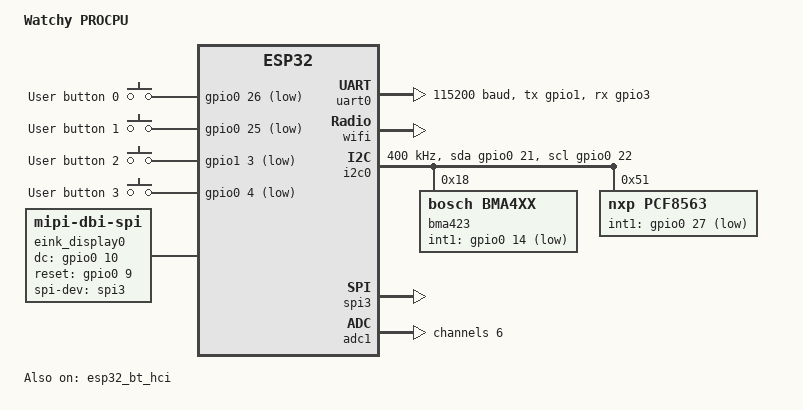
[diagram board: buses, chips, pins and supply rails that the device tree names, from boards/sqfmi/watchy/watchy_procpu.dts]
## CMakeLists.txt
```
# SPDX-License-Identifier: Apache-2.0

cmake_minimum_required(VERSION 3.20.0)

find_package(Zephyr REQUIRED HINTS $ENV{ZEPHYR_BASE})
project(hello_world)

# Include LVGL image conversion function
include(cmake/lvgl_image.cmake)

# Include LVGL font conversion function
include(cmake/lvgl_font.cmake)

include_directories(src/EPD_W21/)
include_directories(src/)

# Convert all images in src/app/images/res
file(GLOB IMAGE_FILES "src/app/images/res/*.png")
if(IMAGE_FILES)
    lvgl_add_images(
        IMAGES ${IMAGE_FILES}
        COLOR_FORMAT RGB565
        RGB565_DITHER
    )
endif()

# Convert seven segments font with number characters and colon
lvgl_add_font(
    FONT_FILE fonts/seven_segments.ttf
    SIZE 64
    BPP 1
    RANGE "0x30-0x3A"
)

# Convert Vietnamese font for notifications if the source is available
set(VIETNAMESE_FONT_FILE "${CMAKE_CURRENT_SOURCE_DIR}/fonts/NotoSans_Condensed-Medium.ttf")
if(EXISTS "${VIETNAMESE_FONT_FILE}")
    lvgl_add_font(
        FONT_FILE ${VIETNAMESE_FONT_FILE}
        SIZE 20
        BPP 4
        FORMAT lvgl
        RANGE "0x0020-0x007F,0x00A0-0x00FF,0x0102,0x0103,0x0110,0x0111,0x0128,0x0129,0x0168,0x0169,0x01A0,0x01A1,0x01AF,0x01B0,0x1EA0-0x1EF9"
        OUTPUT_NAME font_vi_20
        NO_COMPRESS
        NO_PREFILTER
    )
    target_compile_definitions(app PRIVATE HAS_FONT_VI_20)
else()
    message(WARNING "NotoSans_Condensed-Medium.ttf not found; skipping Vietnamese font generation")
endif()

add_compile_definitions(LV_LVGL_H_INCLUDE_SIMPLE)

target_sources(app PRIVATE 
    src/main.c 
    src/network.c 
    src/buttons.c 
    src/battery.c 
    src/sensors.c
    ${LVGL_FONT_SOURCES}
    src/lib/rtc.c
    src/lib/ancs.c
    src/app/app_manager.c
    src/app/watchface/watchface_app.c
    src/app/watchface/segments_wf_app.c
    src/app/counter/counter_app.c
    src/app/notification/notification_app.c
    src/app/images/images_app.c
    src/app/gpio_event.c
    ${LVGL_IMAGE_SOURCES}
)
```

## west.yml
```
manifest:
  remotes:
    - name: zephyrproject-rtos
      url-base: https://github.com/zephyrproject-rtos

  projects:
    - name: zephyr
      remote: zephyrproject-rtos
      revision: main
      import:
        name-allowlist:
          - hal_espressif
          - mbedtls
          - lvgl
  self:
    path: app
```

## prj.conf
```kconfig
CONFIG_ESP32_USE_UNSUPPORTED_REVISION=y
CONFIG_LOG=y
CONFIG_LOG_BACKEND_UART=y
CONFIG_GPIO=y


CONFIG_EARLY_CONSOLE=y

CONFIG_NETWORKING=y
CONFIG_TEST_RANDOM_GENERATOR=y
CONFIG_NET_IPV6=n
CONFIG_NET_IPV4=y
CONFIG_NET_ARP=y
CONFIG_NET_UDP=y
CONFIG_NET_DHCPV4=y
CONFIG_DNS_RESOLVER=y


CONFIG_MAIN_STACK_SIZE=16384
CONFIG_SHELL_STACK_SIZE=8192
CONFIG_NET_TX_STACK_SIZE=2048
CONFIG_NET_RX_STACK_SIZE=2048

CONFIG_NET_PKT_RX_COUNT=10
CONFIG_NET_PKT_TX_COUNT=10
CONFIG_NET_BUF_RX_COUNT=20
CONFIG_NET_BUF_TX_COUNT=20
CONFIG_NET_MAX_CONTEXTS=10

CONFIG_NET_IPV4=y
CONFIG_NET_IPV6=n

CONFIG_NET_TCP=y

CONFIG_NET_LOG=y
CONFIG_INIT_STACKS=y

CONFIG_NET_SHELL=y

CONFIG_NET_STATISTICS=y
CONFIG_NET_STATISTICS_PERIODIC_OUTPUT=n

CONFIG_WIFI=y
CONFIG_WIFI_LOG_LEVEL_ERR=y
CONFIG_NET_L2_WIFI_SHELL=y
CONFIG_NET_MGMT_EVENT_QUEUE_TIMEOUT=50
CONFIG_NET_MGMT_EVENT_QUEUE_SIZE=8
CONFIG_DNS_RESOLVER=y

CONFIG_WIFI_CREDENTIALS=y
CONFIG_FLASH=y
CONFIG_FLASH_PAGE_LAYOUT=y
CONFIG_FLASH_MAP=y
CONFIG_NVS=y
CONFIG_SETTINGS=y
CONFIG_SETTINGS_NVS=y


CONFIG_SENSOR=y
# CONFIG_SENSOR_ASYNC_API=y
CONFIG_BMA4XX=y
CONFIG_SENSOR_LOG_LEVEL_INF=y
CONFIG_SHELL=y
CONFIG_BOOT_BANNER=n
CONFIG_SENSOR_SHELL=y
CONFIG_SENSOR_INFO=y


#CONFIG_CPLUSPLUS=y
CONFIG_GPIO=y
CONFIG_I2C=y
CONFIG_SPI=y


CONFIG_LV_Z_MEM_POOL_SIZE=16384
CONFIG_LV_Z_SHELL=y

CONFIG_DISPLAY=y
CONFIG_DISPLAY_LOG_LEVEL_ERR=y

CONFIG_LOG=y
CONFIG_SHELL=y

CONFIG_LVGL=y
CONFIG_LV_USE_LOG=y
CONFIG_LV_USE_LABEL=y
CONFIG_LV_USE_ARC=y
CONFIG_LV_USE_MONKEY=y
CONFIG_LV_FONT_MONTSERRAT_16=y
CONFIG_LV_FONT_MONTSERRAT_24=y
CONFIG_LV_FONT_MONTSERRAT_48=y
CONFIG_LV_LOG_LEVEL_WARN=y
CONFIG_LV_COLOR_DEPTH_1=y
CONFIG_INPUT=y
CONFIG_LV_Z_BUTTON_INPUT=y



# Wi-Fi Configuration
CONFIG_WIFI=n

# Network Configuration
CONFIG_NET_CONFIG_AUTO_INIT=n
CONFIG_NET_CONNECTION_MANAGER=y
CONFIG_NET_DHCPV4=y
CONFIG_NET_DHCPV4_SERVER=y
CONFIG_NET_IF_MAX_IPV4_COUNT=2
CONFIG_NET_IF_MAX_IPV6_COUNT=2
CONFIG_NET_IPV4=y
CONFIG_NET_L2_ETHERNET=y
CONFIG_NET_L2_WIFI_MGMT=y
CONFIG_NET_MGMT=y
CONFIG_NET_MGMT_EVENT=y
CONFIG_NET_MGMT_EVENT_INFO=y
CONFIG_NET_MGMT_EVENT_QUEUE_SIZE=10
CONFIG_NET_MGMT_EVENT_STACK_SIZE=2048
CONFIG_NET_PKT_RX_COUNT=16
CONFIG_NET_PKT_TX_COUNT=16
CONFIG_NET_SOCKETS_SERVICE_STACK_SIZE=2048
CONFIG_NET_TCP=y
CONFIG_NET_UDP=y
CONFIG_NETWORKING=y

# LOG Configuration
CONFIG_NET_LOG=y

CONFIG_TEST_RANDOM_GENERATOR=y
CONFIG_ESP32_USE_UNSUPPORTED_REVISION=y


CONFIG_RTC=y
CONFIG_RTC_SHELL=y

CONFIG_ADC=y
CONFIG_ADC_ESP32=y



CONFIG_BT=y
CONFIG_BT_PERIPHERAL=y
CONFIG_BT_SMP=y
CONFIG_BT_GATT_CLIENT=y
CONFIG_BT_DEVICE_NAME="Zephyr GATT Write 3"

CONFIG_BT_BUF_ACL_RX_SIZE=255
CONFIG_BT_BUF_ACL_TX_SIZE=251
CONFIG_BT_BUF_CMD_TX_SIZE=255
CONFIG_BT_BUF_EVT_DISCARDABLE_SIZE=255

CONFIG_BT_L2CAP_TX_MTU=247

CONFIG_LOG=y
CONFIG_ESP32_USE_UNSUPPORTED_REVISION=y

CONFIG_BT_GATT_AUTO_DISCOVER_CCC=y

CONFIG_HEAP_MEM_POOL_SIZE=32768
```

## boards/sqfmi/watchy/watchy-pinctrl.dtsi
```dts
/*
 * Copyright (c) 2022 AVSystem Sławomir Wolf Sp.j. (AVSystem)
 *
 * SPDX-License-Identifier: Apache-2.0
 */

#include <zephyr/dt-bindings/pinctrl/esp-pinctrl-common.h>
#include <dt-bindings/pinctrl/esp32-pinctrl.h>
#include <zephyr/dt-bindings/pinctrl/esp32-gpio-sigmap.h>

&pinctrl {
	uart0_tx_gpio1: uart0_tx_gpio1 {
		pinmux = <UART0_TX_GPIO1>;
		output-high;
	};

	uart0_rx_gpio3: uart0_rx_gpio3 {
		pinmux = <UART0_RX_GPIO3>;
		bias-pull-up;
	};

	spim2_miso_gpio12: spim2_miso_gpio12 {
		pinmux = <SPIM2_MISO_GPIO12>;
	};

	spim2_mosi_gpio11: spim2_mosi_gpio11 {
		pinmux = <SPIM2_MOSI_GPIO11>;
		output-low;
	};

	spim2_sclk_gpio14: spim2_sclk_gpio14 {
		pinmux = <SPIM2_SCLK_GPIO14>;
	};

	spim2_csel_gpio16: spim2_csel_gpio16 {
		pinmux = <SPIM2_CSEL_GPIO16>;
	};

	spim3_default: spim3_default {
		group1 {
			pinmux = <SPIM3_MISO_GPIO36>,
				 <SPIM3_SCLK_GPIO13>,
				 <SPIM3_CSEL_GPIO5>;
		};

		group2 {
			pinmux = <SPIM3_MOSI_GPIO15>;
			output-low;
		};
	};

	i2c0_default: i2c0_default {
		group1 {
			pinmux = <I2C0_SDA_GPIO21>,
				 <I2C0_SCL_GPIO22>;
			bias-pull-up;
			drive-open-drain;
			output-high;
		};
	};

	spim3_eink: spim3_eink {
		group1 {
			pinmux = <SPIM3_MOSI_GPIO23>,
				 <SPIM3_SCLK_GPIO18>,
				 <SPIM3_CSEL_GPIO5>;
			output-low;
		};
	};

	adc0_default: adc0_default {
		group1 {
			pinmux = <PB0X_ADC_AD4>,
				 <PB1X_ADC_AD5>;
		};
	};
};
```

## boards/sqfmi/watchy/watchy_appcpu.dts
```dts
/dts-v1/;

#include <espressif/esp32/esp32_pico_d4.dtsi>
#include <espressif/partitions_0x1000_amp.dtsi>

/ {
	model = "Watchy APPCPU";
	compatible = "espressif,esp32";

	chosen {
		zephyr,sram = &sram1;
		zephyr,ipc_shm = &shm0;
		zephyr,ipc = &ipm0;
		zephyr,flash = &flash0;
		zephyr,code-partition = &slot0_appcpu_partition;
	};
};

&ipm0 {
	status = "okay";
};

&trng0 {
	status = "okay";
};
```

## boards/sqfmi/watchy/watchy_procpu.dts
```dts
/dts-v1/;

#include <espressif/esp32/esp32_pico_d4.dtsi>
#include "watchy-pinctrl.dtsi"
#include <zephyr/dt-bindings/input/input-event-codes.h>
#include <zephyr/dt-bindings/regulator/axp192.h>
#include <zephyr/dt-bindings/mipi_dbi/mipi_dbi.h>
#include <espressif/partitions_0x1000_amp.dtsi>


// Schematic: https://github.com/sqfmi/watchy-hardware/blob/v2.0/WatchySchematic.pdf
/ {
	model = "Watchy PROCPU";
	compatible = "sqfmi,watchy";

	aliases {
		sw0 = &user_button_0;
		sw1 = &user_button_1;
		sw2 = &user_button_2;
		sw3 = &user_button_3;
		uart-0 = &uart0;
		watchdog0 = &wdt0;
		accel0 = &bma423;
		rtc = &pcf8563;

		batt-adc = &adc1;
		batt-adc-channel = &adc1_channel6;
	};

	chosen {
		zephyr,sram = &sram1;
		zephyr,console = &uart0;
		zephyr,shell-uart = &uart0;
		zephyr,flash = &flash0;
		zephyr,code-partition = &slot0_partition;
		zephyr,bt-hci = &esp32_bt_hci;
		zephyr,display= &ssd16xx_waveshare_epaper_gdeh0154a07;
	};

	gpio_keys: gpio_keys {
		compatible = "gpio-keys";

		user_button_0: button_0 {
			label = "User button 0";
			gpios = <&gpio0 26 GPIO_ACTIVE_LOW>;
			zephyr,code = <INPUT_KEY_0>;
		};

		user_button_1: button_1 {
			label = "User button 1";
			gpios = <&gpio0 25 GPIO_ACTIVE_LOW>;
			zephyr,code = <INPUT_KEY_1>;
		};

		user_button_2: button_2 {
			label = "User button 2";
			gpios = <&gpio1 3 GPIO_ACTIVE_LOW>;
			zephyr,code = <INPUT_KEY_2>;
		};

		user_button_3: button_3 {
			label = "User button 3";
			gpios = <&gpio0 4 GPIO_ACTIVE_LOW>;
			zephyr,code = <INPUT_KEY_3>;
		};
	};



	eink_display0: eink_display{
		compatible = "zephyr,mipi-dbi-spi";
		spi-dev = <&spi3>;
		dc-gpios = <&gpio0 10 GPIO_ACTIVE_HIGH>;
		reset-gpios = <&gpio0 9 GPIO_ACTIVE_HIGH>;
		#address-cells = <1>;
		#size-cells = <0>;
		status = "okay";

		ssd16xx_waveshare_epaper_gdeh0154a07: ssd16xxfb@0 {
			compatible = "gooddisplay,gdeh0154a07", "solomon,ssd1681";
			mipi-max-frequency = <4000000>;
			reg = <0>;
			width = <200>;
			height = <200>;
			busy-gpios = <&gpio0 19 GPIO_ACTIVE_HIGH>;
			status = "okay";

			tssv = <0x80>;
			rotation = <270>;

			full {
				border-waveform = <0x05>;
			};

			partial {
				border-waveform = <0x3c>;
			};
		};
	};
#if 0
	lvgl_button_input {
		compatible = "zephyr,lvgl-button-input";
		input = <&gpio_keys>;
		input-codes = <INPUT_KEY_0>;
		coordinates = <160 120>;
	};
#endif

};

&uart0 {
	status = "okay";
	current-speed = <115200>;
	pinctrl-0 = <&uart0_tx_gpio1 &uart0_rx_gpio3>;
	pinctrl-names = "default";
};

&gpio0 {
	status = "okay";
};

&gpio1 {
	status = "okay";
};

&wifi {
	status = "okay";
};

&esp32_bt_hci {
	status = "okay";
};

&i2c0 {
	status = "okay";
	clock-frequency = <I2C_BITRATE_FAST>;
	sda-gpios = <&gpio0 21 GPIO_OPEN_DRAIN>;
	scl-gpios = <&gpio0 22 GPIO_OPEN_DRAIN>;
	pinctrl-0 = <&i2c0_default>;
	scl-timeout-us = <0>;
	pinctrl-names = "default";

	bma423: bma423@18 {
		compatible = "bosch,bma4xx";
		reg = <0x18>;
		status = "okay";
		int1-gpios = <&gpio0 14 GPIO_ACTIVE_LOW>;
	};

	pcf8563: pcf8563@51 {
		compatible = "nxp,pcf8563";
		reg = <0x51>;
		status = "okay";
		int1-gpios = <&gpio0 27 GPIO_ACTIVE_LOW>;
	};
};

// ePD SPI3
&spi3 {
	#address-cells = <1>;
	#size-cells = <0>;
	status = "okay";
	pinctrl-0 = <&spim3_eink>;
	pinctrl-names = "default";
};


&adc1 {
    status = "okay";
	#address-cells = <1>;
    #size-cells = <0>;

    adc1_channel6: channel@6 {
        reg = <0x6>; /* ADC1_CH6 */
        zephyr,gain = "ADC_GAIN_1";
		zephyr,reference = "ADC_REF_INTERNAL";
		zephyr,vref-mv = <3894>;
        zephyr,acquisition-time = <ADC_ACQ_TIME_DEFAULT>;
        zephyr,resolution = <12>;
    };
};
```

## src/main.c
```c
/*
 * Copyright (c) 2012-2014 Wind River Systems, Inc.
 *
 * SPDX-License-Identifier: Apache-2.0
 */

#include <lvgl.h>
#include <stdio.h>
#include <zephyr/device.h>
#include <zephyr/devicetree.h>
#include <zephyr/drivers/display.h>
#include <zephyr/kernel.h>
#include <zephyr/logging/log.h>

#include "app/app_interface.h"
#include "app/app_manager.h"
#include "buttons.h"
#include "lib/ancs.h"

extern int sensor_init(void);
extern void epd_display_init(void);
extern int init_net(void);
extern IApp CounterApp;
extern IApp ImagesApp;
extern IApp WatchfaceApp;
extern IApp SegmentsWatchfaceApp;
extern IApp NotificationApp;

LOG_MODULE_REGISTER(main, LOG_LEVEL_INF);

/**
 * @brief Initialize LVGL display
 */
static int lvgl_display_init(void) {
  const struct device *display = DEVICE_DT_GET(DT_CHOSEN(zephyr_display));
  if (!device_is_ready(display)) {
    LOG_ERR("Display device not ready");
    return -1;
  }

  display_blanking_off(display);

  LOG_INF("Display is ready");
  lv_obj_set_style_bg_color(lv_screen_active(), lv_color_white(), 0);

  return 0;
}

void on_new_notification(const struct ancs_notification *notif) {
  static uint32_t last_notification_uid = 0xffffffff;
  LOG_INF("New Notification:");
  LOG_INF("  UID: 0x%x", notif->source.notification_uid);
  LOG_INF("  App ID: %s", notif->app_identifier);
  LOG_INF("  Title: %s", notif->title);
  LOG_INF("  Subtitle: %s", notif->subtitle);
  LOG_INF("  Message: %s", notif->message);
  LOG_INF("  Date: %s", notif->date);
  LOG_INF("  Positive Action: %s", notif->positive_action_label);

  if (last_notification_uid == notif->source.notification_uid) {
    LOG_INF("Duplicate notification UID, ignoring");
    return;
  }

  last_notification_uid = notif->source.notification_uid;
  // Send notification event to active watchface
  input_event_t event = {.type = INPUT_EVENT_TYPE_NOTIFICATION,
                         .code = INPUT_NOTIFICATION_NEW,
                         .data = (void *)notif};
  app_manager_handle_event(&event);
}
void on_notification_removed(uint32_t uid) {
  LOG_INF("Notification Removed: UID=0x%x", uid);
}
struct ancs_callbacks ancs_cbs = {
    .on_new_notification = on_new_notification,
    .on_notification_removed = on_notification_removed,
};

int main(void) {
  LOG_INF("Starting Watchy Zephyr App with App Framework");

  // Initialize ANCS client
  ancs_client_init();
  ancs_register_cb(&ancs_cbs);

  // Initialize button subsystem
  button_init();
  // init_net();

  // Initialize LVGL display
  if (lvgl_display_init() < 0) {
    LOG_ERR("Failed to initialize display");
    return -1;
  }

  // Register applications (launch segments watchface by default)
  app_manager_register(&SegmentsWatchfaceApp);
  // app_manager_register(&WatchfaceApp);
  // app_manager_register(&NotificationApp);
  // app_manager_register(&ImagesApp);
  // app_manager_register(&CounterApp);

  LOG_INF("Launching segments watchface app");
  app_manager_launch(0);

  // Main event loop
  while (1) {
    LOG_DBG("Main loop tick");
    uint32_t sleep_time = lv_timer_handler();
    if (sleep_time >= 1000) {
      sleep_time = 1000;
    }
    k_sleep(K_MSEC(sleep_time));
  }

  return 0;
}
```

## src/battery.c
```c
#include <zephyr/device.h>
#include <zephyr/devicetree.h>
#include <zephyr/drivers/adc.h>
#include <zephyr/kernel.h>
#include <zephyr/logging/log.h>

LOG_MODULE_REGISTER(battery_app, LOG_LEVEL_DBG);

#define BATT_ADC_CH DT_ALIAS(batt_adc_channel)
static const struct device *batt_adc = DEVICE_DT_GET(DT_ALIAS(batt_adc));
static const struct adc_channel_cfg batt_adc_ch =
    ADC_CHANNEL_CFG_DT(BATT_ADC_CH);

static int32_t batt_vref_mv;
static uint8_t batt_resolution;

void battery_init(void) {
  batt_vref_mv = DT_PROP(BATT_ADC_CH, zephyr_vref_mv);
  batt_resolution = DT_PROP(BATT_ADC_CH, zephyr_resolution);

  if (!device_is_ready(batt_adc)) {
    LOG_ERR("Battery ADC not ready");
    return;
  }
  if (adc_channel_setup(batt_adc, &batt_adc_ch) < 0) {
    LOG_ERR("Failed to setup battery ADC channel");
    return;
  }
}

int32_t read_batt_voltage(void) {
  uint16_t buf;
  struct adc_sequence seq = {.channels = BIT(batt_adc_ch.channel_id),
                             .buffer = &buf,
                             .buffer_size = sizeof(buf),
                             .resolution = batt_resolution};

  // dump seq content for debugging
  LOG_DBG("ADC Sequence - channels: 0x%08x, buffer_size: %d, resolution: %d",
          seq.channels, seq.buffer_size, seq.resolution);

  if (adc_read(batt_adc, &seq) < 0) {
    LOG_ERR("Failed to read battery voltage");
    return -1;
  }

  LOG_DBG("Raw ADC Value: %d", buf);
  return (int32_t)buf * batt_vref_mv / (1 << batt_resolution);
}

void battery_main(void) {
  battery_init();
  while (1) {
    int32_t voltage = read_batt_voltage();
    if (voltage >= 0) {
      LOG_INF("Battery Voltage: %d mV", voltage);
    }
    k_sleep(K_SECONDS(2));
  }
}
```

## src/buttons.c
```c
/*
 * Copyright (c) 2016 Open-RnD Sp. z o.o.
 * Copyright (c) 2020 Nordic Semiconductor ASA
 *
 * SPDX-License-Identifier: Apache-2.0
 *
 * NOTE: If you are looking into an implementation of button events with
 * debouncing, check out `input` subsystem and `samples/subsys/input/input_dump`
 * example instead.
 */

#include <inttypes.h>
#include <zephyr/device.h>
#include <zephyr/drivers/gpio.h>
#include <zephyr/kernel.h>
#include <zephyr/logging/log.h>
#include <zephyr/sys/printk.h>
#include <zephyr/sys/util.h>

#include "app/gpio_event.h"

LOG_MODULE_REGISTER(buttons, LOG_LEVEL_INF);

/*
 * Get button configuration from the devicetree sw0 alias. This is mandatory.
 */
#define SW0_NODE DT_ALIAS(sw0)
#define SW1_NODE DT_ALIAS(sw1)
#define SW2_NODE DT_ALIAS(sw2)
#define SW3_NODE DT_ALIAS(sw3)

#define MAX_BUTTONS 4
static struct gpio_callback button_cb_data[MAX_BUTTONS];

static const struct gpio_dt_spec buttons[MAX_BUTTONS] = {
    GPIO_DT_SPEC_GET_OR(SW0_NODE, gpios, {0}),
    GPIO_DT_SPEC_GET_OR(SW1_NODE, gpios, {0}),
    GPIO_DT_SPEC_GET_OR(SW2_NODE, gpios, {0}),
    GPIO_DT_SPEC_GET_OR(SW3_NODE, gpios, {0}),
};

void button_pressed(const struct device *dev, struct gpio_callback *cb, uint32_t pins) {
  LOG_INF("Button event port = %s pins = 0x%08x", dev->name, pins);

  // Find which button triggered the interrupt and check its state
  for (int i = 0; i < MAX_BUTTONS; i++) {
    const struct gpio_dt_spec *button = &buttons[i];
    if (button->port == dev && (pins & BIT(button->pin))) {
      // Read actual button state
      int val = gpio_pin_get_dt(button);
      if (val < 0) {
        LOG_ERR("Failed to read button state: %d", val);
        continue;
      }

      // Send event based on actual state (pressed=1, released=0)
      gpio_button_callback_mapped(button->pin, val == 1);
      LOG_INF("Button %d %s", i, val == 1 ? "pressed" : "released");
    }
  }
}

int button_init(void) {
  int ret;
  for (int i = 0; i < MAX_BUTTONS; i++) {
    const struct gpio_dt_spec *button = &buttons[i];
    if (button->port == NULL) {
      LOG_WRN("Button %d not defined in device tree, skipping...", i);
      continue;
    }

    if (!gpio_is_ready_dt(button)) {
      LOG_ERR("Error: button device %s is not ready\n", button->port->name);
      continue;
    }

    ret = gpio_pin_configure_dt(button, GPIO_INPUT);
    if (ret != 0) {
      LOG_ERR("Error %d: failed to configure %s pin %d\n", ret, button->port->name, button->pin);
      continue;
    }

    ret = gpio_pin_interrupt_configure_dt(button, GPIO_INT_EDGE_BOTH);
    if (ret != 0) {
      LOG_ERR("Error %d: failed to configure interrupt on %s pin %d\n", ret, button->port->name,
              button->pin);
      continue;
    }

    gpio_init_callback(&button_cb_data[i], button_pressed, BIT(button->pin));
    gpio_add_callback(button->port, &button_cb_data[i]);
    LOG_INF("Set up button at %s pin %d\n", button->port->name, button->pin);
  }
  return 0;
}
```

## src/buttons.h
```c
/*
 * Watchy Button Library Header
 */

#ifndef BUTTONS_H
#define BUTTONS_H

int button_init(void);

#endif /* BUTTONS_H */
```

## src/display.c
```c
/*
 * Copyright (c) 2018 Jan Van Winkel <jan.van_winkel@dxplore.eu>
 *
 * SPDX-License-Identifier: Apache-2.0
 */

#include <lvgl.h>
#include <lvgl_input_device.h>
#include <stdio.h>
#include <string.h>
#include <zephyr/device.h>
#include <zephyr/devicetree.h>
#include <zephyr/drivers/display.h>
#include <zephyr/kernel.h>

#define LOG_LEVEL CONFIG_LOG_DEFAULT_LEVEL
#include <zephyr/logging/log.h>
LOG_MODULE_REGISTER(app, 4);

#include "cat_image.h"

extern const lv_image_dsc_t cat_200x200;

int display_main(void) {
  LOG_INF("Display main started");
  const struct device* display = DEVICE_DT_GET(DT_CHOSEN(zephyr_display));
  if (!device_is_ready(display)) {
    return 0;
  }
  LOG_INF("Display is ready");

  lv_obj_set_style_bg_color(lv_screen_active(), lv_color_white(), 0);
  lv_obj_t* label = lv_label_create(lv_screen_active());
  LOG_INF("Label created at %p", label);
  lv_label_set_text(label, "Hello world!");
  lv_obj_set_style_text_color(label, lv_color_black(), 0);
  lv_obj_align(label, LV_ALIGN_TOP_MID, 0, 0);

  lv_obj_t* icon = lv_image_create(lv_screen_active());
  lv_image_set_src(icon, &cat_200x200);
  lv_obj_align_to(icon, label, LV_ALIGN_OUT_BOTTOM_MID, 0, 10);

  LOG_INF("Display blanking off");

  while (1) {
    uint32_t t = lv_timer_handler();
    k_sleep(K_MSEC(t));
  }
}
```

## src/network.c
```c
#include <zephyr/kernel.h>
#include <zephyr/logging/log.h>
#include <zephyr/net/net_event.h>
#include <zephyr/net/net_if.h>
#include <zephyr/net/wifi_mgmt.h>

LOG_MODULE_REGISTER(network, LOG_LEVEL_INF);

#define WIFI_SAMPLE_SSID "mystery 2.4"
#define WIFI_SAMPLE_PSK "123456Aa@"

#define NET_EVENT_WIFI_MASK                                           \
  (NET_EVENT_WIFI_CONNECT_RESULT | NET_EVENT_WIFI_DISCONNECT_RESULT | \
   NET_EVENT_WIFI_IFACE_STATUS)

static struct net_if *sta_iface;
static struct wifi_connect_req_params sta_config;
static struct net_mgmt_event_callback cb;

/* Check necessary definitions */
BUILD_ASSERT(sizeof(WIFI_SAMPLE_SSID) > 1,
             "WIFI_SAMPLE_SSID is empty. Please set it in conf file.");

static int connect_to_wifi(void);

static void wifi_event_handler(struct net_mgmt_event_callback *cb,
                               uint64_t mgmt_event, struct net_if *iface) {
  switch (mgmt_event) {
    case NET_EVENT_WIFI_CONNECT_RESULT: {
      LOG_INF("Connected to %s", WIFI_SAMPLE_SSID);
      break;
    }
    case NET_EVENT_WIFI_DISCONNECT_RESULT: {
      LOG_INF("Disconnected from %s", WIFI_SAMPLE_SSID);
      //   Attempt to reconnect
      connect_to_wifi();
      break;
    }
    default:
      LOG_INF("Unhandled WiFi event: %llu", mgmt_event);
      break;
  }
}

static int connect_to_wifi(void) {
  if (!sta_iface) {
    LOG_ERR("STA: interface not initialized");
    return -EIO;
  }

  sta_config.ssid = (const uint8_t *)WIFI_SAMPLE_SSID;
  sta_config.ssid_length = sizeof(WIFI_SAMPLE_SSID) - 1;
  sta_config.psk = (const uint8_t *)WIFI_SAMPLE_PSK;
  sta_config.psk_length = sizeof(WIFI_SAMPLE_PSK) - 1;
  sta_config.security = WIFI_SECURITY_TYPE_PSK;
  sta_config.channel = WIFI_CHANNEL_ANY;
  sta_config.band = WIFI_FREQ_BAND_2_4_GHZ;

  LOG_INF("Connecting to SSID: %s", sta_config.ssid);

  int ret = net_mgmt(NET_REQUEST_WIFI_CONNECT, sta_iface, &sta_config,
                     sizeof(struct wifi_connect_req_params));
  if (ret) {
    LOG_ERR("Unable to Connect to (%s), err: %d", WIFI_SAMPLE_SSID, ret);
  }

  return ret;
}

int init_net(void) {
  net_mgmt_init_event_callback(&cb, wifi_event_handler, NET_EVENT_WIFI_MASK);
  net_mgmt_add_event_callback(&cb);

  /* Get STA interface */
  sta_iface = net_if_get_wifi_sta();
  if (!sta_iface) {
    LOG_ERR("Failed to get WiFi STA interface");
    return -ENODEV;
  }

  int ret = connect_to_wifi();
  return ret;
}
```

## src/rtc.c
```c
/*
 * Copyright (c) 2024, Muhammad Waleed Badar
 *
 * SPDX-License-Identifier: Apache-2.0
 */

#include <zephyr/device.h>
#include <zephyr/drivers/rtc.h>
#include <zephyr/kernel.h>
#include <zephyr/logging/log.h>
#include <zephyr/sys/util.h>
LOG_MODULE_REGISTER(rtc_app, 4);

const struct device* const rtc = DEVICE_DT_GET(DT_ALIAS(rtc));

static int set_date_time(const struct device* rtc) {
  int ret = 0;
  struct rtc_time tm = {
      .tm_year = 2024 - 1900,
      .tm_mon = 11 - 1,
      .tm_mday = 17,
      .tm_hour = 4,
      .tm_min = 19,
      .tm_sec = 0,
  };

  ret = rtc_set_time(rtc, &tm);
  if (ret < 0) {
    printk("Cannot write date time: %d\n", ret);
    return ret;
  }
  return ret;
}

static int get_date_time(const struct device* rtc) {
  int ret = 0;
  struct rtc_time tm;

  ret = rtc_get_time(rtc, &tm);
  if (ret < 0) {
    printk("Cannot read date time: %d\n", ret);
    return ret;
  }

  printk("RTC date and time: %04d-%02d-%02d %02d:%02d:%02d\n",
         tm.tm_year + 1900, tm.tm_mon + 1, tm.tm_mday, tm.tm_hour, tm.tm_min,
         tm.tm_sec);

  return ret;
}

int rtc_main(void) {
  /* Check if the RTC is ready */
  if (!device_is_ready(rtc)) {
    printk("Device is not ready\n");
    return 0;
  }

  set_date_time(rtc);

  while (1) {
    /* code */
    get_date_time(rtc);
    k_sleep(K_MSEC(1000));
  }

  return 0;
}
```

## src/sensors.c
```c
/*
 * Copyright 2024 NXP
 * Copyright (c) 2018 Phytec Messtechnik GmbH
 *
 * SPDX-License-Identifier: Apache-2.0
 */

#include <stdio.h>
#include <zephyr/drivers/sensor.h>
#include <zephyr/kernel.h>

K_SEM_DEFINE(sem, 0, 1); /* starts off "not available" */

#ifdef CONFIG_SAMPLE_TAP_DETECTION
static void tap_trigger_handler(const struct device *dev, const struct sensor_trigger *trigger) {
  ARG_UNUSED(trigger);
  printf("TAP detected\n");

  if (sensor_sample_fetch_chan(dev, SENSOR_CHAN_ACCEL_XYZ) < 0) {
    printf("ERROR: SENSOR_CHAN_ACCEL_XYZ fetch failed\n");
  }

  k_sem_give(&sem);
}
#else
static void trigger_handler(const struct device *dev, const struct sensor_trigger *trigger) {
  ARG_UNUSED(trigger);

  /* Always fetch the sample to clear the data ready interrupt in the
   * sensor.
   */
  if (sensor_sample_fetch(dev)) {
    printf("sensor_sample_fetch failed\n");
    return;
  }

  k_sem_give(&sem);
}
#endif

int sensor_init(void) {
  struct sensor_value data[3];
  const struct device *const dev = DEVICE_DT_GET(DT_ALIAS(accel0));

  struct sensor_trigger trig = {
      .type = SENSOR_TRIG_DATA_READY,
      .chan = SENSOR_CHAN_ACCEL_XYZ,
  };

  if (!device_is_ready(dev)) {
    printf("Device %s is not ready\n", dev->name);
    return 0;
  }

#ifdef CONFIG_SAMPLE_TAP_DETECTION
  trig.type = SENSOR_TRIG_DOUBLE_TAP;
  trig.chan = SENSOR_CHAN_ACCEL_XYZ;
  if (sensor_trigger_set(dev, &trig, tap_trigger_handler) < 0) {
    printf("Could not set tap trigger\n");
    return 0;
  }
#else
  if (sensor_trigger_set(dev, &trig, trigger_handler)) {
    printf("Could not set trigger\n");
    return 0;
  }
#endif

  while (1) {
    k_sem_take(&sem, K_FOREVER);
    sensor_channel_get(dev, SENSOR_CHAN_ACCEL_XYZ, data);

    /* Print accel x,y,z data */
    printf("%16s [m/s^2]:    (%12.6f, %12.6f, %12.6f)\n", dev->name,
           sensor_value_to_double(&data[0]), sensor_value_to_double(&data[1]),
           sensor_value_to_double(&data[2]));
  }
}
```
